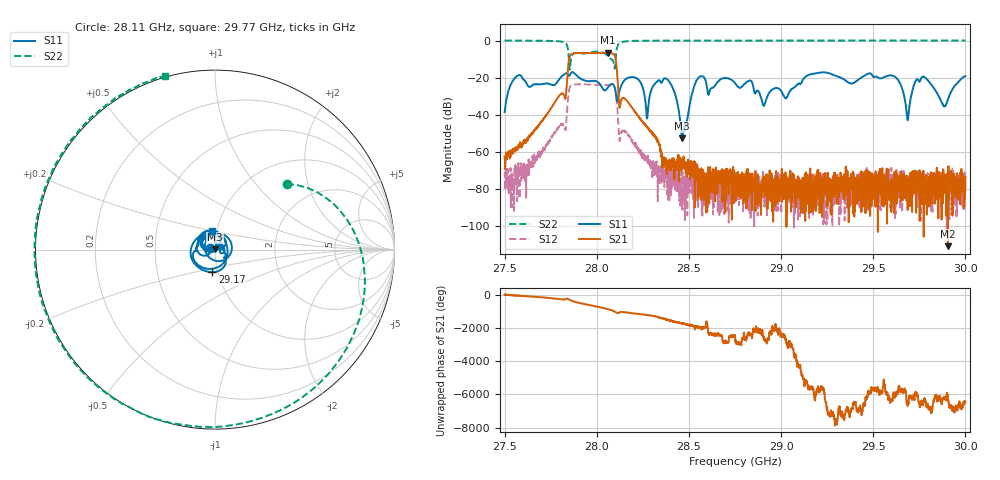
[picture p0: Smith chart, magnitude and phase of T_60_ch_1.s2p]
!Keysight Technologies,N5234A,MY55441357,A.10.47.05
!Date: Sunday, November 19, 2017 17:35:25
!Correction: S11(Full 2 Port(1,2))
!S21(Full 2 Port(1,2))
!S12(Full 2 Port(1,2))
!S22(Full 2 Port(1,2))
!S2P File: Measurements: S11, S21, S12, S22:
# Hz S  dB  R 50
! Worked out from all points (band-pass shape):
!   2501 points, 27.5 GHz to 30 GHz, reference 50 ohm
!   highest |S21| = -6.55 dB at 28.06 GHz (marker M1); lowest = -111.1 dB at 29.91 GHz (marker M2)
!   |S21| within 3 dB of the highest: 27.85 GHz to 28.1 GHz (250.9 MHz wide, 0.897 % of centre)
!   lowest |S11| = -52.7 dB at 28.46 GHz (marker M3), VSWR 1.00, Z = 50 + j0.231 ohm
!   |S11| at or under -10 dB: start of sweep to end of sweep
!   |S22| runs from -15.7 to 0.1 dB; largest |S21 - S12| = 0.51
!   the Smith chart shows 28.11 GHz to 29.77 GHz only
!   S11 on the Smith chart (normalised r, x): 28.11 GHz: 0.95, +0.02; 29.17 GHz: 0.94, -0.24; 29.77 GHz: 0.95, +0.20
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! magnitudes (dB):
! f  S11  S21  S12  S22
! 27.5 GHz  -38.5  -62.6  -71.9  0.0
! 27.57 GHz  -18.8  -56.5  -69.2  0.0
! 27.82 GHz  -18.2  -30.0  -46.5  -0.9
! 27.92 GHz  -20.8  -6.6  -23.6  -6.9
! 28.06 GHz  -25.2  -6.5  -23.9  -8.4
! 28.11 GHz  -31.4  -13.7  -31.2  -5.3
! 28.13 GHz  -25.3  -33.6  -50.8  -1.0
! 28.22 GHz  -20.5  -40.1  -56.8  -0.1
! 28.27 GHz  -41.8  -47.0  -65.5  0.0
! 28.33 GHz  -21.5  -54.4  -76.5  0.0
! 28.41 GHz  -24.5  -68.7  -79.9  0.0
! 28.46 GHz  -52.7  -68.8  -89.5  0.1
! 28.55 GHz  -19.7  -72.9  -76.8  0.1
! 28.75 GHz  -23.0  -77.8  -74.2  0.1
! 28.91 GHz  -35.1  -75.0  -76.3  0.1
! 29.17 GHz  -18.0  -77.3  -77.9  0.1
! 29.17 GHz  -17.9  -84.7  -89.9  0.1
! 29.58 GHz  -18.9  -78.0  -85.5  0.1
! 29.69 GHz  -43.0  -91.5  -72.0  0.1
! 29.77 GHz  -19.5  -70.3  -80.9  0.1
! 29.91 GHz  -31.9  -111.1  -81.3  0.1
! 30 GHz  -19.1  -73.7  -81.9  0.1
